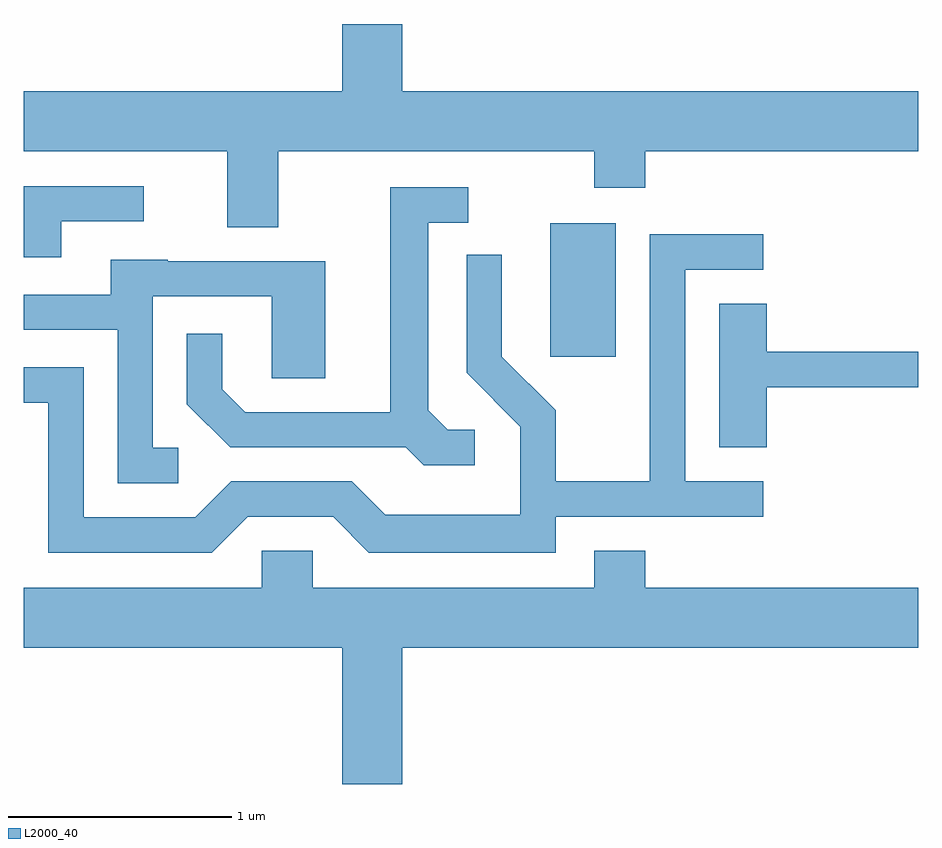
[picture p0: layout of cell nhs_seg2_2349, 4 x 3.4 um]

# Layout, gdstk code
import gdstk
lib = gdstk.Library(unit=1e-6, precision=1e-09)
def R(c, l, rs):  # rectangles x0, y0, x1, y1
    for r in rs: c.add(gdstk.rectangle(r[:2], r[2:], *l))
def P(c, l, *ps):  # polygons
    for p in ps: c.add(gdstk.Polygon(p, *l))
L2000_40 = (2000, 40)

nhs_seg2_2349 = lib.new_cell('nhs_seg2_2349')
R(nhs_seg2_2349, L2000_40, [(255.966,1054.056,256.259,1054.654)])
P(nhs_seg2_2349, L2000_40, [(253.611,1054.976),(254.521,1054.976),(254.521,1054.636),(254.749,1054.636),(254.749,1054.976),(256.161,1054.976),(256.161,1054.811),(256.389,1054.811),(256.389,1054.976),(257.611,1054.976),(257.611,1055.244),(255.304,1055.244),(255.304,1055.544),(255.036,1055.544),(255.036,1055.244),(253.611,1055.244)],
  [(253.779,1054.661),(254.148,1054.661),(254.148,1054.819),(253.611,1054.819),(253.611,1054.501),(253.779,1054.501)],
  [(255.628,1053.729),(255.507,1053.729),(255.419,1053.817),(255.419,1054.656),(255.598,1054.656),(255.598,1054.814),(255.251,1054.814),(255.251,1053.809),(254.602,1053.809),(254.499,1053.912),(254.499,1054.158),(254.341,1054.158),(254.341,1053.844),(254.534,1053.651),(255.319,1053.651),(255.399,1053.571),(255.628,1053.571)],
  [(254.612,1053.341),(254.994,1053.341),(255.154,1053.181),(255.989,1053.181),(255.989,1053.341),(256.918,1053.341),(256.918,1053.499),(256.569,1053.499),(256.569,1054.446),(256.918,1054.446),(256.918,1054.604),(256.411,1054.604),(256.411,1053.499),(255.989,1053.499),(255.989,1053.817),(255.749,1054.057),(255.749,1054.513),(255.591,1054.513),(255.591,1053.984),(255.831,1053.744),(255.831,1053.349),(255.227,1053.349),(255.077,1053.499),(254.539,1053.499),(254.379,1053.339),(253.879,1053.339),(253.879,1054.009),(253.611,1054.009),(253.611,1053.851),(253.721,1053.851),(253.721,1053.181),(254.452,1053.181)],
  [(254.303,1053.649),(254.189,1053.649),(254.189,1054.326),(254.721,1054.326),(254.721,1053.961),(254.959,1053.961),(254.959,1054.484),(254.255,1054.484),(254.255,1054.489),(254.001,1054.489),(254.001,1054.334),(253.611,1054.334),(253.611,1054.176),(254.031,1054.176),(254.031,1053.491),(254.303,1053.491)],
  [(256.934,1053.921),(257.611,1053.921),(257.611,1054.079),(256.934,1054.079),(256.934,1054.294),(256.721,1054.294),(256.721,1053.651),(256.934,1053.651)],
  [(255.304,1052.756),(257.611,1052.756),(257.611,1053.024),(256.389,1053.024),(256.389,1053.189),(256.161,1053.189),(256.161,1053.024),(254.904,1053.024),(254.904,1053.189),(254.676,1053.189),(254.676,1053.024),(253.611,1053.024),(253.611,1052.756),(255.036,1052.756),(255.036,1052.146),(255.304,1052.146)])

lib.write_gds('nhs_seg2_2349.gds')
